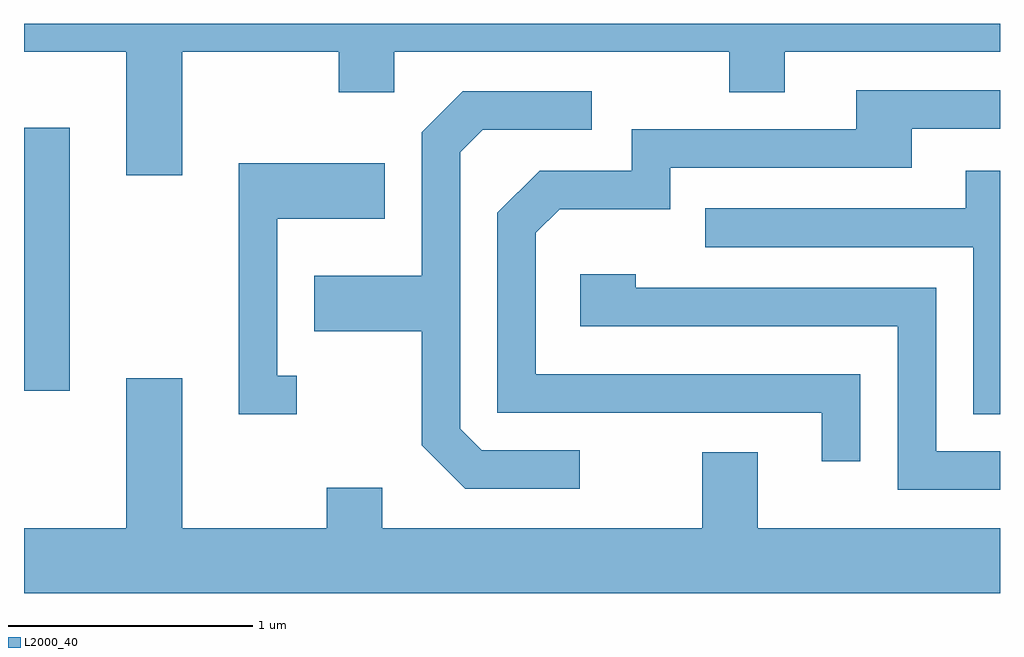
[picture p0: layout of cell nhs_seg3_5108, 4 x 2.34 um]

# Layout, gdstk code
import gdstk
lib = gdstk.Library(unit=1e-6, precision=1e-09)
def R(c, l, rs):  # rectangles x0, y0, x1, y1
    for r in rs: c.add(gdstk.rectangle(r[:2], r[2:], *l))
def P(c, l, *ps):  # polygons
    for p in ps: c.add(gdstk.Polygon(p, *l))
L2000_40 = (2000, 40)

nhs_seg3_5108 = lib.new_cell('nhs_seg3_5108')
R(nhs_seg3_5108, L2000_40, [(335.611,1142.386,335.799,1143.464)])
P(nhs_seg3_5108, L2000_40, [(336.259,1143.776),(336.901,1143.776),(336.901,1143.611),(337.129,1143.611),(337.129,1143.776),(338.501,1143.776),(338.501,1143.611),(338.729,1143.611),(338.729,1143.776),(339.611,1143.776),(339.611,1143.892),(335.611,1143.892),(335.611,1143.776),(336.031,1143.776),(336.031,1143.271),(336.259,1143.271)],
  [(339.039,1142.454),(337.709,1142.454),(337.709,1143.034),(337.807,1143.131),(338.259,1143.131),(338.259,1143.301),(339.249,1143.301),(339.249,1143.461),(339.611,1143.461),(339.611,1143.619),(339.021,1143.619),(339.021,1143.459),(338.101,1143.459),(338.101,1143.289),(337.724,1143.289),(337.551,1143.117),(337.551,1142.296),(338.881,1142.296),(338.881,1142.098),(339.039,1142.098)],
  [(337.888,1142.144),(337.487,1142.144),(337.399,1142.232),(337.399,1143.364),(337.492,1143.456),(337.938,1143.456),(337.938,1143.614),(337.409,1143.614),(337.241,1143.447),(337.241,1142.859),(336.801,1142.859),(336.801,1142.631),(337.241,1142.631),(337.241,1142.164),(337.419,1141.986),(337.888,1141.986)],
  [(336.728,1142.449),(336.649,1142.449),(336.649,1143.091),(337.089,1143.091),(337.089,1143.319),(336.491,1143.319),(336.491,1142.291),(336.728,1142.291)],
  [(339.611,1143.289),(339.471,1143.289),(339.471,1143.134),(338.403,1143.134),(338.403,1142.976),(339.501,1142.976),(339.501,1142.291),(339.611,1142.291)],
  [(339.611,1142.139),(339.349,1142.139),(339.349,1142.809),(338.119,1142.809),(338.119,1142.864),(337.891,1142.864),(337.891,1142.651),(339.191,1142.651),(339.191,1141.981),(339.611,1141.981)],
  [(339.611,1141.824),(338.619,1141.824),(338.619,1142.134),(338.391,1142.134),(338.391,1141.824),(337.079,1141.824),(337.079,1141.989),(336.851,1141.989),(336.851,1141.824),(336.259,1141.824),(336.259,1142.439),(336.031,1142.439),(336.031,1141.824),(335.611,1141.824),(335.611,1141.556),(339.611,1141.556)])

lib.write_gds('nhs_seg3_5108.gds')
